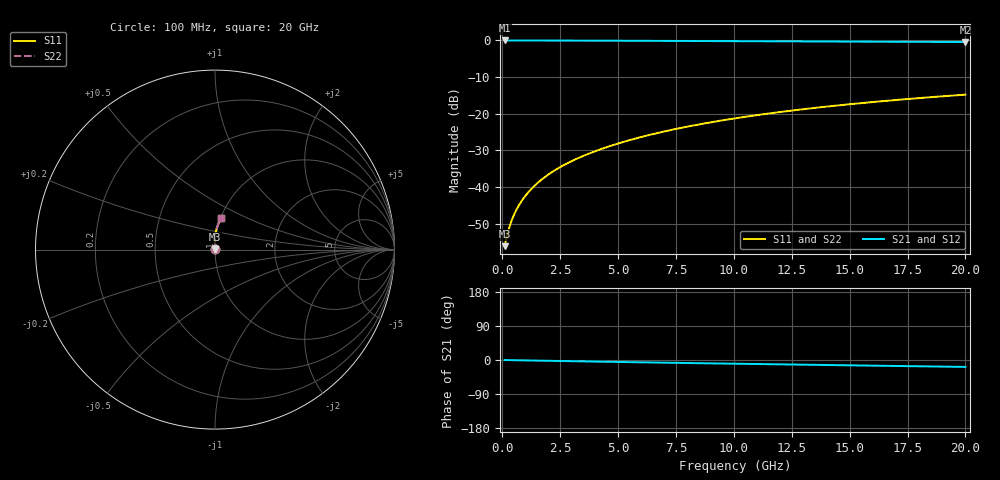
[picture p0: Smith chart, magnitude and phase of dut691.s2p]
! Touchstone file exported from HFSS 2024.1.0
!  File:  C:/UserFiles/LocalFiles/RDL_TSV_Batchsim/temp_RDL_top_691_1779782831.aedt
!  Generated:  04:09:20 PM May 26, 2026
!  Design:  RDL_top
!  Project:  temp_RDL_top_691_1779782831
!  Setup:  Setup1
!  Solution:  Sweep
! Variables:
!  dtsv = 10.80580581um
!  hbump = 3um
!  htsv = 93.76um
!  ldown = 100um
!  lrdl = 233.9um
!  p = 40
!  p1 = 50.9um
!  rhole = 1um
!  t = 450um
!  tdown = 3.915915916um
!  trdl = 3.05um
!  wdown = 15.38538539um
!  wrdl = 26.22um
# GHz S MA R 50.000000
! Terminal data exported
! Port[1] = Box2_T1
! Port[2] = Box2_T2
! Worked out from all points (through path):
!   200 points, 100 MHz to 20 GHz, reference 50 ohm
!   highest |S21| = -0.01 dB at 100 MHz (marker M1); lowest = -0.4 dB at 20 GHz (marker M2)
!   group delay of S21, straight-line fit = 2.5 ps
!   lowest |S11| = -56.1 dB at 100 MHz (marker M3), VSWR 1.00, Z = 50.1 + j0.0833 ohm
!   |S11| at or under -10 dB: start of sweep to end of sweep
!   |S22| runs from -56.1 to -14.8 dB; largest |S21 - S12| = 4.4e-15
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0.1  0.001559 32.2  0.9987 -0.1  0.9987 -0.1  0.001559 32.2
! Gamma 0 0 0 0
! Port Impedance 50 0 50 0
0.2  0.002135 49.8  0.9986 -0.2  0.9986 -0.2  0.002135 49.8
0.3  0.002792 58.9  0.9985 -0.3  0.9985 -0.3  0.002792 58.9
0.4  0.003465 64.5  0.9984 -0.4  0.9984 -0.4  0.003465 64.5
0.5  0.004141 68.4  0.9983 -0.5  0.9983 -0.5  0.004141 68.4
0.6  0.004821 71.3  0.9983 -0.7  0.9983 -0.7  0.004821 71.3
0.8  0.006197 75.5  0.9981 -0.9  0.9981 -0.9  0.006197 75.5
1.1  0.008306 79.6  0.9978 -1.2  0.9978 -1.2  0.008306 79.6
1.3  0.009737 81.4  0.9977 -1.4  0.9977 -1.4  0.009737 81.4
1.6  0.01192 83.5  0.9973 -1.7  0.9973 -1.7  0.01192 83.5
2.1  0.01563 85.9  0.9967 -2.2  0.9967 -2.2  0.01563 85.9
2.7  0.02022 87.8  0.9957 -2.9  0.9957 -2.9  0.02022 87.8
3.5  0.02658 89.4  0.9941 -3.7  0.9941 -3.7  0.02658 89.4
4.2  0.03236 90.2  0.9925 -4.4  0.9925 -4.4  0.03236 90.2
5  0.0392 90.7  0.9905 -5.2  0.9905 -5.2  0.0392 90.7
6.8  0.05542 90.7  0.9855 -6.9  0.9855 -6.9  0.05542 90.7
8.4  0.07052 89.9  0.981 -8.4  0.981 -8.4  0.07052 89.9
10.1  0.08695 88.6  0.9763 -9.9  0.9763 -9.9  0.08695 88.6
11.7  0.1026 87.1  0.972 -11.3  0.972 -11.3  0.1026 87.1
13.4  0.1192 85.4  0.9675 -12.7  0.9675 -12.7  0.1192 85.4
16.7  0.151 82.0  0.9591 -15.5  0.9591 -15.5  0.151 82.0
20  0.1821 78.6  0.9507 -18.2  0.9507 -18.2  0.1821 78.6
